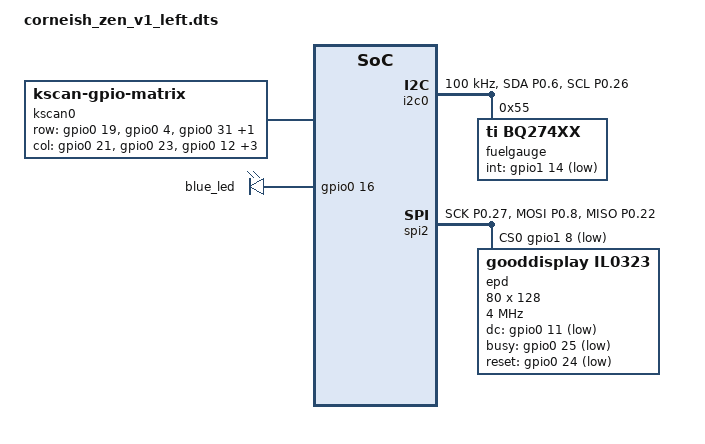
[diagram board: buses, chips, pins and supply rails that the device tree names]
/*
*
* Copyright (c) 2021 Darryl deHaan
* SPDX-License-Identifier: MIT
*
*/

#include "corneish_zen.dtsi"

/{
    chosen {
        zephyr,display = &epd;
        zmk,battery = &fuelgauge;
    };

    kscan0: kscan {
        compatible = "zmk,kscan-gpio-matrix";

        diode-direction = "col2row";
        row-gpios
            = <&gpio0 19 (GPIO_ACTIVE_HIGH | GPIO_PULL_DOWN)>
            , <&gpio0  4 (GPIO_ACTIVE_HIGH | GPIO_PULL_DOWN)>
            , <&gpio0 31 (GPIO_ACTIVE_HIGH | GPIO_PULL_DOWN)>
            , <&gpio0 30 (GPIO_ACTIVE_HIGH | GPIO_PULL_DOWN)>
            ;

        col-gpios
            = <&gpio0 21 GPIO_ACTIVE_HIGH>
            , <&gpio0 23 GPIO_ACTIVE_HIGH>
            , <&gpio0 12 GPIO_ACTIVE_HIGH>
            , <&gpio1  9 GPIO_ACTIVE_HIGH>
            , <&gpio0  7 GPIO_ACTIVE_HIGH>
            , <&gpio0  5 GPIO_ACTIVE_HIGH>
            ;
    };

    leds {
        compatible = "gpio-leds";
        blue_led: led_0 {
            gpios = <&gpio0 16 GPIO_ACTIVE_HIGH>;
        };
    };
};

&pinctrl {
    spi2_default: spi2_default {
        group1 {
            psels = <NRF_PSEL(SPIM_SCK, 0, 27)>,
                <NRF_PSEL(SPIM_MOSI, 0, 8)>,
                <NRF_PSEL(SPIM_MISO, 0, 22)>;
        };
    };

    spi2_sleep: spi2_sleep {
        group1 {
            psels = <NRF_PSEL(SPIM_SCK, 0, 27)>,
                <NRF_PSEL(SPIM_MOSI, 0, 8)>,
                <NRF_PSEL(SPIM_MISO, 0, 22)>;
            low-power-enable;
        };
    };

    i2c0_default: i2c0_default {
        group1 {
            psels = <NRF_PSEL(TWIM_SDA, 0, 6)>,
                <NRF_PSEL(TWIM_SCL, 0, 26)>;
        };
    };

    i2c0_sleep: i2c0_sleep {
        group1 {
            psels = <NRF_PSEL(TWIM_SDA, 0, 6)>,
                <NRF_PSEL(TWIM_SCL, 0, 26)>;
            low-power-enable;
        };
    };
};

&i2c0 {
    status = "okay";
    compatible = "nordic,nrf-twim";
    pinctrl-0 = <&i2c0_default>;
    pinctrl-1 = <&i2c0_sleep>;
    pinctrl-names = "default", "sleep";
    clock-frequency = <100000>;

    fuelgauge: bq274xx@55 {
        compatible = "ti,bq274xx";
        reg = <0x55>;
        design-voltage = <3700>; //Battery Design Volatge in mV
        design-capacity = <180>; //Battery Design Capacity in mAh
        taper-current = <2>; //Battery Taper current in mAh
        terminate-voltage = <2750>; //Battery Terminate Voltage in mV
        int-gpios = <&gpio1 14 GPIO_ACTIVE_LOW>;
    };
};

&spi2 {
    status = "okay";
    compatible = "nordic,nrf-spim";
    pinctrl-0 = <&spi2_default>;
    pinctrl-1 = <&spi2_sleep>;
    pinctrl-names = "default", "sleep";
    cs-gpios = <&gpio1 8 GPIO_ACTIVE_LOW>;

    epd: il0323@0 {
        compatible = "gooddisplay,il0323";
        reg =  <0>;
        width = <80>;
        height = <128>;
        spi-max-frequency = <4000000>;
        dc-gpios = <&gpio0 11 GPIO_ACTIVE_LOW>;
        busy-gpios = <&gpio0 25 GPIO_ACTIVE_LOW>;
        reset-gpios = <&gpio0 24 GPIO_ACTIVE_LOW>;
        pwr = [03 00 26 26];
        cdi = <0xd2>;
        tcon = <0x22>;
    };
};
